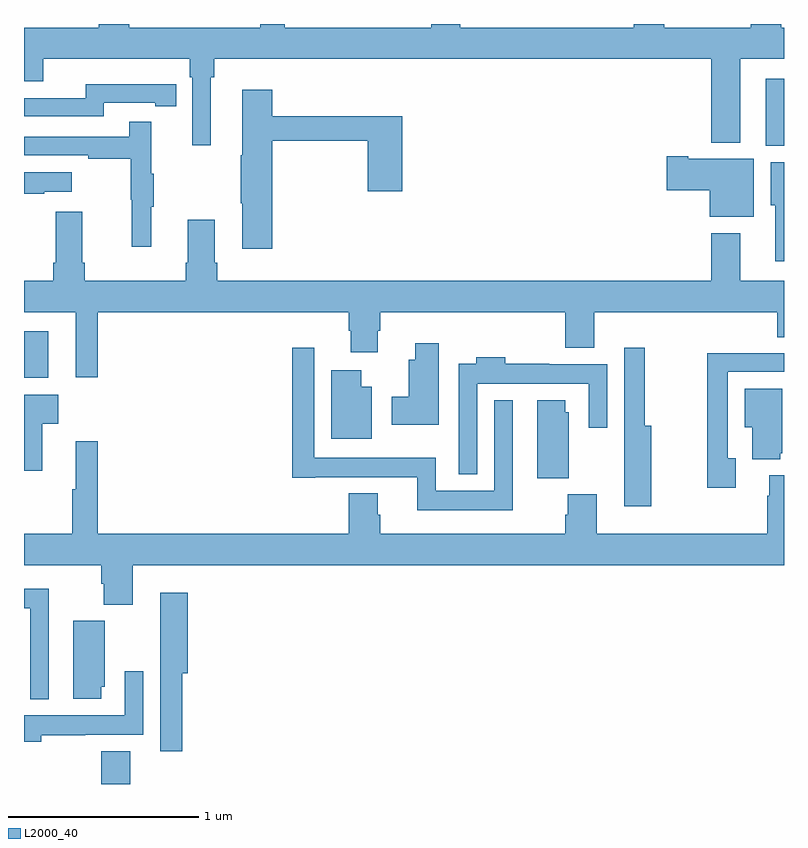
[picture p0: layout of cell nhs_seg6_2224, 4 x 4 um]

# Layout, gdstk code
import gdstk
lib = gdstk.Library(unit=1e-6, precision=1e-09)
def R(c, l, rs):  # rectangles x0, y0, x1, y1
    for r in rs: c.add(gdstk.rectangle(r[:2], r[2:], *l))
def P(c, l, *ps):  # polygons
    for p in ps: c.add(gdstk.Polygon(p, *l))
L2000_40 = (2000, 40)

nhs_seg6_2224 = lib.new_cell('nhs_seg6_2224')
R(nhs_seg6_2224, L2000_40, [(243.407,963.5,243.559,963.673), (243,965.639,243.127,965.884), (246.905,966.86,247,967.213)])
P(nhs_seg6_2224, L2000_40, [(243.982,967.22),(244.001,967.22),(244.001,967.316),(246.617,967.316),(246.617,966.875),(246.769,966.875),(246.769,967.316),(247,967.316),(247,967.48),(246.986,967.48),(246.986,967.5),(246.826,967.5),(246.826,967.48),(246.369,967.48),(246.369,967.5),(246.209,967.5),(246.209,967.48),(245.297,967.48),(245.297,967.5),(245.144,967.5),(245.144,967.48),(244.373,967.48),(244.373,967.5),(244.243,967.5),(244.243,967.48),(243.554,967.48),(243.554,967.5),(243.394,967.5),(243.394,967.48),(243,967.48),(243,967.199),(243.1,967.199),(243.1,967.316),(243.872,967.316),(243.872,967.22),(243.885,967.22),(243.885,966.861),(243.982,966.861)],
  [(243.42,967.086),(243.692,967.086),(243.692,967.066),(243.8,967.066),(243.8,967.182),(243.692,967.182),(243.692,967.183),(243.324,967.183),(243.324,967.11),(243,967.11),(243,967.014),(243.42,967.014)],
  [(244.307,966.886),(244.808,966.886),(244.808,966.621),(244.991,966.621),(244.991,967.015),(244.307,967.015),(244.307,967.153),(244.148,967.153),(244.148,966.809),(244.141,966.809),(244.141,966.556),(244.148,966.556),(244.148,966.318),(244.307,966.318)],
  [(243.671,966.539),(243.682,966.539),(243.682,966.713),(243.671,966.713),(243.671,966.985),(243.553,966.985),(243.553,966.906),(243,966.906),(243,966.81),(243.337,966.81),(243.337,966.79),(243.561,966.79),(243.561,966.576),(243.568,966.576),(243.568,966.327),(243.671,966.327)],
  [(246.841,966.79),(246.496,966.79),(246.496,966.803),(246.384,966.803),(246.384,966.625),(246.608,966.625),(246.608,966.485),(246.841,966.485)],
  [(247,966.772),(246.929,966.772),(246.929,966.546),(246.953,966.546),(246.953,966.252),(247,966.252)],
  [(243.107,966.617),(243.25,966.617),(243.25,966.721),(243,966.721),(243,966.607),(243.107,966.607)],
  [(243.389,965.984),(244.709,965.984),(244.709,965.886),(244.721,965.886),(244.721,965.772),(244.861,965.772),(244.861,965.886),(244.874,965.886),(244.874,965.984),(245.849,965.984),(245.849,965.795),(246.001,965.795),(246.001,965.984),(246.965,965.984),(246.965,965.851),(247,965.851),(247,966.148),(246.769,966.148),(246.769,966.4),(246.617,966.4),(246.617,966.148),(244.016,966.148),(244.016,966.244),(244.003,966.244),(244.003,966.469),(243.863,966.469),(243.863,966.244),(243.851,966.244),(243.851,966.148),(243.32,966.148),(243.32,966.244),(243.307,966.244),(243.307,966.511),(243.167,966.511),(243.167,966.244),(243.155,966.244),(243.155,966.148),(243,966.148),(243,965.984),(243.272,965.984),(243.272,965.64),(243.389,965.64)],
  [(245.182,965.821),(245.06,965.821),(245.06,965.734),(245.024,965.734),(245.024,965.538),(244.935,965.538),(244.935,965.39),(245.182,965.39)],
  [(246.3,965.386),(246.268,965.386),(246.268,965.797),(246.159,965.797),(246.159,965.282),(246.158,965.282),(246.158,964.962),(246.3,964.962)],
  [(245.572,965.521),(245.475,965.521),(245.475,965.044),(245.166,965.044),(245.166,965.218),(244.527,965.218),(244.527,965.797),(244.411,965.797),(244.411,965.112),(244.534,965.112),(244.534,965.114),(245.069,965.114),(245.069,964.94),(245.572,964.94)],
  [(246.745,965.214),(246.705,965.214),(246.705,965.67),(247,965.67),(247,965.766),(246.881,965.766),(246.881,965.768),(246.597,965.768),(246.597,965.058),(246.745,965.058)],
  [(245.385,965.606),(245.973,965.606),(245.973,965.376),(246.069,965.376),(246.069,965.71),(245.765,965.71),(245.765,965.713),(245.534,965.713),(245.534,965.746),(245.381,965.746),(245.381,965.713),(245.289,965.713),(245.289,965.129),(245.385,965.129)],
  [(244.831,965.59),(244.774,965.59),(244.774,965.677),(244.616,965.677),(244.616,965.318),(244.831,965.318)],
  [(246.98,965.241),(246.991,965.241),(246.991,965.581),(246.794,965.581),(246.794,965.378),(246.833,965.378),(246.833,965.21),(246.98,965.21)],
  [(243.095,965.396),(243.181,965.396),(243.181,965.548),(243,965.548),(243,965.148),(243.095,965.148)],
  [(245.866,965.457),(245.848,965.457),(245.848,965.521),(245.702,965.521),(245.702,965.11),(245.866,965.11)],
  [(243.572,964.652),(247,964.652),(247,965.125),(246.923,965.125),(246.923,965.018),(246.911,965.018),(246.911,964.816),(246.014,964.816),(246.014,965.025),(245.861,965.025),(245.861,964.916),(245.849,964.916),(245.849,964.816),(244.874,964.816),(244.874,964.917),(244.861,964.917),(244.861,965.029),(244.709,965.029),(244.709,964.816),(243.389,964.816),(243.389,965.305),(243.272,965.305),(243.272,965.052),(243.253,965.052),(243.253,964.816),(243,964.816),(243,964.652),(243.407,964.652),(243.407,964.553),(243.419,964.553),(243.419,964.444),(243.572,964.444)],
  [(243.13,964.528),(243,964.528),(243,964.424),(243.033,964.424),(243.033,963.947),(243.13,963.947)],
  [(243.833,964.082),(243.863,964.082),(243.863,964.507),(243.716,964.507),(243.716,964.186),(243.717,964.186),(243.717,963.672),(243.833,963.672)],
  [(243.406,964.011),(243.424,964.011),(243.424,964.359),(243.26,964.359),(243.26,963.948),(243.406,963.948)],
  [(243.092,963.756),(243.323,963.756),(243.323,963.758),(243.627,963.758),(243.627,964.093),(243.531,964.093),(243.531,963.862),(243,963.862),(243,963.722),(243.092,963.722)])

lib.write_gds('nhs_seg6_2224.gds')
